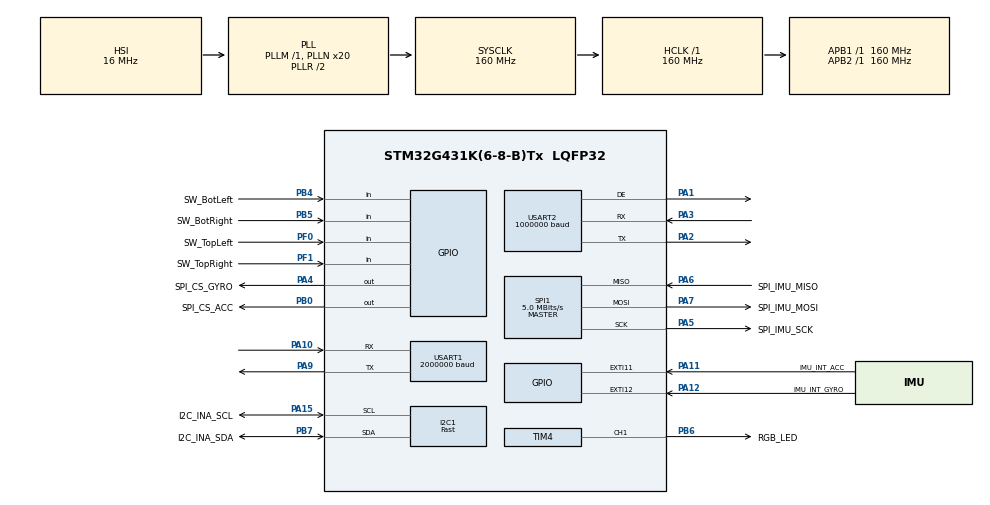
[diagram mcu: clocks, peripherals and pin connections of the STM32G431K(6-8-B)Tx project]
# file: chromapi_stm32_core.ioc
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Dma.Request0=USART2_TX
Dma.Request1=USART2_RX
Dma.Request2=TIM4_CH1
Dma.Request3=USART1_RX
Dma.Request4=USART1_TX
Dma.TIM4_CH1.2.Direction=DMA_MEMORY_TO_PERIPH
Dma.TIM4_CH1.2.EventEnable=DISABLE
Dma.TIM4_CH1.2.Instance=DMA1_Channel3
Dma.TIM4_CH1.2.MemDataAlignment=DMA_MDATAALIGN_BYTE
Dma.TIM4_CH1.2.MemInc=DMA_MINC_ENABLE
Dma.TIM4_CH1.2.Mode=DMA_CIRCULAR
Dma.TIM4_CH1.2.PeriphDataAlignment=DMA_PDATAALIGN_WORD
Dma.TIM4_CH1.2.PeriphInc=DMA_PINC_DISABLE
Dma.TIM4_CH1.2.Polarity=HAL_DMAMUX_REQ_GEN_RISING
Dma.TIM4_CH1.2.Priority=DMA_PRIORITY_HIGH
Dma.TIM4_CH1.2.RequestNumber=1
Dma.TIM4_CH1.2.SignalID=NONE
Dma.TIM4_CH1.2.SyncEnable=DISABLE
Dma.TIM4_CH1.2.SyncPolarity=HAL_DMAMUX_SYNC_NO_EVENT
Dma.TIM4_CH1.2.SyncRequestNumber=1
Dma.TIM4_CH1.2.SyncSignalID=NONE
Dma.USART1_RX.3.Direction=DMA_PERIPH_TO_MEMORY
Dma.USART1_RX.3.EventEnable=DISABLE
Dma.USART1_RX.3.Instance=DMA1_Channel4
Dma.USART1_RX.3.MemDataAlignment=DMA_MDATAALIGN_BYTE
Dma.USART1_RX.3.MemInc=DMA_MINC_ENABLE
Dma.USART1_RX.3.Mode=DMA_CIRCULAR
Dma.USART1_RX.3.PeriphDataAlignment=DMA_PDATAALIGN_BYTE
Dma.USART1_RX.3.PeriphInc=DMA_PINC_DISABLE
Dma.USART1_RX.3.Polarity=HAL_DMAMUX_REQ_GEN_RISING
Dma.USART1_RX.3.Priority=DMA_PRIORITY_HIGH
Dma.USART1_RX.3.RequestNumber=1
Dma.USART1_RX.3.SignalID=NONE
Dma.USART1_RX.3.SyncEnable=DISABLE
Dma.USART1_RX.3.SyncPolarity=HAL_DMAMUX_SYNC_NO_EVENT
Dma.USART1_RX.3.SyncRequestNumber=1
Dma.USART1_RX.3.SyncSignalID=NONE
Dma.USART1_TX.4.Direction=DMA_MEMORY_TO_PERIPH
Dma.USART1_TX.4.EventEnable=DISABLE
Dma.USART1_TX.4.Instance=DMA1_Channel5
Dma.USART1_TX.4.MemDataAlignment=DMA_MDATAALIGN_BYTE
Dma.USART1_TX.4.MemInc=DMA_MINC_ENABLE
Dma.USART1_TX.4.Mode=DMA_NORMAL
Dma.USART1_TX.4.PeriphDataAlignment=DMA_PDATAALIGN_BYTE
Dma.USART1_TX.4.PeriphInc=DMA_PINC_DISABLE
Dma.USART1_TX.4.Polarity=HAL_DMAMUX_REQ_GEN_RISING
Dma.USART1_TX.4.Priority=DMA_PRIORITY_HIGH
Dma.USART1_TX.4.RequestNumber=1
Dma.USART1_TX.4.SignalID=NONE
Dma.USART1_TX.4.SyncEnable=DISABLE
Dma.USART1_TX.4.SyncPolarity=HAL_DMAMUX_SYNC_NO_EVENT
Dma.USART1_TX.4.SyncRequestNumber=1
Dma.USART1_TX.4.SyncSignalID=NONE
Dma.USART2_RX.1.Direction=DMA_PERIPH_TO_MEMORY
Dma.USART2_RX.1.EventEnable=DISABLE
Dma.USART2_RX.1.Instance=DMA1_Channel2
Dma.USART2_RX.1.MemDataAlignment=DMA_MDATAALIGN_BYTE
Dma.USART2_RX.1.MemInc=DMA_MINC_ENABLE
Dma.USART2_RX.1.Mode=DMA_NORMAL
Dma.USART2_RX.1.PeriphDataAlignment=DMA_PDATAALIGN_BYTE
Dma.USART2_RX.1.PeriphInc=DMA_PINC_DISABLE
Dma.USART2_RX.1.Polarity=HAL_DMAMUX_REQ_GEN_RISING
Dma.USART2_RX.1.Priority=DMA_PRIORITY_VERY_HIGH
Dma.USART2_RX.1.RequestNumber=1
Dma.USART2_RX.1.SignalID=NONE
Dma.USART2_RX.1.SyncEnable=DISABLE
Dma.USART2_RX.1.SyncPolarity=HAL_DMAMUX_SYNC_NO_EVENT
Dma.USART2_RX.1.SyncRequestNumber=1
Dma.USART2_RX.1.SyncSignalID=NONE
Dma.USART2_TX.0.Direction=DMA_MEMORY_TO_PERIPH
Dma.USART2_TX.0.EventEnable=DISABLE
Dma.USART2_TX.0.Instance=DMA1_Channel1
Dma.USART2_TX.0.MemDataAlignment=DMA_MDATAALIGN_BYTE
Dma.USART2_TX.0.MemInc=DMA_MINC_ENABLE
Dma.USART2_TX.0.Mode=DMA_NORMAL
Dma.USART2_TX.0.PeriphDataAlignment=DMA_PDATAALIGN_BYTE
Dma.USART2_TX.0.PeriphInc=DMA_PINC_DISABLE
Dma.USART2_TX.0.Polarity=HAL_DMAMUX_REQ_GEN_RISING
Dma.USART2_TX.0.Priority=DMA_PRIORITY_VERY_HIGH
Dma.USART2_TX.0.RequestNumber=1
Dma.USART2_TX.0.SignalID=NONE
Dma.USART2_TX.0.SyncEnable=DISABLE
Dma.USART2_TX.0.SyncPolarity=HAL_DMAMUX_SYNC_NO_EVENT
Dma.USART2_TX.0.SyncRequestNumber=1
Dma.USART2_TX.0.SyncSignalID=NONE
I2C1.I2C_Fall_Time=10
I2C1.I2C_Speed_Mode=I2C_Fast
I2C1.Timing=0x10F02A89
Mcu.Family=STM32G4
Mcu.Name=STM32G431K(6-8-B)Tx
Mcu.Package=LQFP32
NVIC.DMA1_Channel1_IRQn=true\:5\:0\:true\:false\:true\:false\:true\:true
NVIC.DMA1_Channel2_IRQn=true\:5\:0\:true\:false\:true\:false\:true\:true
NVIC.DMA1_Channel3_IRQn=true\:5\:0\:true\:false\:true\:false\:true\:true
NVIC.DMA1_Channel4_IRQn=true\:5\:0\:true\:false\:true\:false\:true\:true
NVIC.DMA1_Channel5_IRQn=true\:5\:0\:true\:false\:true\:false\:true\:true
NVIC.PriorityGroup=NVIC_PRIORITYGROUP_4
NVIC.TIM6_DAC_IRQn=true\:6\:0\:true\:false\:true\:true\:true\:true
NVIC.USART1_IRQn=true\:1\:0\:false\:false\:true\:true\:true\:true
NVIC.USART2_IRQn=true\:0\:0\:true\:false\:true\:true\:true\:true
PA1.Mode=Hardware Flow Control (RS485)
PA1.Signal=USART2_DE
PA10.Mode=Asynchronous
PA10.Signal=USART1_RX
PA11.GPIO_Label=IMU_INT_ACC
PA11.Signal=GPXTI11
PA12.GPIO_Label=IMU_INT_GYRO
PA12.Signal=GPXTI12
PA13.Mode=Serial_Wire
PA13.Signal=SYS_JTMS-SWDIO
PA14.Mode=Serial_Wire
PA14.Signal=SYS_JTCK-SWCLK
PA15.GPIO_Label=I2C_INA_SCL
PA15.Mode=I2C
PA15.Signal=I2C1_SCL
PA2.Mode=Asynchronous
PA2.Signal=USART2_TX
PA3.GPIO_PuPd=GPIO_PULLUP
PA3.Mode=Asynchronous
PA3.Signal=USART2_RX
PA4.GPIO_Label=SPI_CS_GYRO
PA4.PinState=GPIO_PIN_SET
PA4.Signal=GPIO_Output
PA5.GPIO_Label=SPI_IMU_SCK
PA5.GPIO_Speed=GPIO_SPEED_FREQ_HIGH
PA5.Mode=Full_Duplex_Master
PA5.Signal=SPI1_SCK
PA6.GPIO_Label=SPI_IMU_MISO
PA6.GPIO_Speed=GPIO_SPEED_FREQ_HIGH
PA6.Mode=Full_Duplex_Master
PA6.Signal=SPI1_MISO
PA7.GPIO_Label=SPI_IMU_MOSI
PA7.GPIO_Speed=GPIO_SPEED_FREQ_HIGH
PA7.Mode=Full_Duplex_Master
PA7.Signal=SPI1_MOSI
PA9.Mode=Asynchronous
PA9.Signal=USART1_TX
PB0.GPIO_Label=SPI_CS_ACC
PB0.PinState=GPIO_PIN_SET
PB0.Signal=GPIO_Output
PB4.GPIO_Label=SW_BotLeft
PB4.GPIO_PuPd=GPIO_NOPULL
PB4.Signal=GPIO_Input
PB5.GPIO_Label=SW_BotRight
PB5.GPIO_PuPd=GPIO_NOPULL
PB5.Signal=GPIO_Input
PB6.GPIO_Label=RGB_LED
PB6.Signal=S_TIM4_CH1
PB7.GPIO_Label=I2C_INA_SDA
PB7.Mode=I2C
PB7.Signal=I2C1_SDA
PF0-OSC_IN.GPIO_Label=SW_TopLeft
PF0-OSC_IN.GPIO_PuPd=GPIO_NOPULL
PF0-OSC_IN.Signal=GPIO_Input
PF1-OSC_OUT.GPIO_Label=SW_TopRight
PF1-OSC_OUT.GPIO_PuPd=GPIO_NOPULL
PF1-OSC_OUT.Signal=GPIO_Input
ProjectManager.HeapSize=0x200
ProjectManager.StackSize=0x400
ProjectManager.TargetToolchain=STM32CubeIDE
RCC.ADC12Freq_Value=160000000
RCC.AHBFreq_Value=160000000
RCC.APB1Freq_Value=160000000
RCC.APB1TimFreq_Value=160000000
RCC.APB2Freq_Value=160000000
RCC.APB2TimFreq_Value=160000000
RCC.CortexFreq_Value=160000000
RCC.EXTERNAL_CLOCK_VALUE=12288000
RCC.HCLKFreq_Value=160000000
RCC.HSE_VALUE=8000000
RCC.HSI48_VALUE=48000000
RCC.HSI_VALUE=16000000
RCC.LSE_VALUE=32768
RCC.PLLN=20
RCC.SYSCLKFreq_VALUE=160000000
RCC.SYSCLKSource=RCC_SYSCLKSOURCE_PLLCLK
RCC.USBFreq_Value=160000000
RCC.VCOOutputFreq_Value=320000000
SH.S_TIM4_CH1.0=TIM4_CH1,PWM Generation1 CH1
SPI1.BaudRatePrescaler=SPI_BAUDRATEPRESCALER_32
SPI1.CalculateBaudRate=5.0 MBits/s
SPI1.DataSize=SPI_DATASIZE_8BIT
SPI1.Direction=SPI_DIRECTION_2LINES
SPI1.Mode=SPI_MODE_MASTER
SPI1.NSSPMode=SPI_NSS_PULSE_DISABLE
SPI1.VirtualType=VM_MASTER
TIM4.AutoReloadPreload=TIM_AUTORELOAD_PRELOAD_ENABLE
TIM4.Channel-PWM\ Generation1\ CH1=TIM_CHANNEL_1
TIM4.PeriodNoDither=199
TIM6.AutoReloadPreload=TIM_AUTORELOAD_PRELOAD_ENABLE
TIM6.PeriodNoDither=2500-1
TIM6.Prescaler=160-1
USART1.BaudRate=2000000
USART1.VirtualMode-Asynchronous=VM_ASYNC
USART2.BaudRate=1000000
USART2.FIFOMode=FIFOMODE_DISABLE
USART2.UART_DEAssertionTime=8
USART2.UART_DEDeassertionTime=8
USART2.VirtualMode-Asynchronous=VM_ASYNC
USART2.VirtualMode-Hardware\ Flow\ Control\ (RS485)=VM_ASYNC
VP_SYS_VS_DBSignals.Mode=DisableDeadBatterySignals
VP_TIM4_VS_ClockSourceINT.Mode=Internal
VP_TIM6_VS_ClockSourceINT.Mode=Enable_Timer
board=custom

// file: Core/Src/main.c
/* USER CODE BEGIN Header */
/**
 ******************************************************************************
 * @file           : main.c
 * @brief          : Main program body
 ******************************************************************************
 * @attention
 *
 * Copyright (c) 2026 STMicroelectronics.
 * All rights reserved.
 *
 * This software is licensed under terms that can be found in the LICENSE file
 * in the root directory of this software component.
 * If no LICENSE file comes with this software, it is provided AS-IS.
 *
 ******************************************************************************
 */
/* USER CODE END Header */
#include "main.h"

/* USER CODE BEGIN Includes */
#include <ws2812b.h>

#include "servo_bus.h"
#include "ina226.h"
#include "bmi088.h"
#include "bridge.h"
#include "mahony.h"
/* USER CODE END Includes */

/* USER CODE BEGIN PD */
#define INA226_I2C_ADDR    0x40
#define SHUNT_OHMS         0.002
#define MAX_CURRENT_A      8.0
/* USER CODE END PD */

I2C_HandleTypeDef hi2c1;

SPI_HandleTypeDef hspi1;

TIM_HandleTypeDef htim4;
TIM_HandleTypeDef htim6;
DMA_HandleTypeDef hdma_tim4_ch1;

UART_HandleTypeDef huart1;
UART_HandleTypeDef huart2;
DMA_HandleTypeDef hdma_usart1_rx;
DMA_HandleTypeDef hdma_usart1_tx;
DMA_HandleTypeDef hdma_usart2_tx;
DMA_HandleTypeDef hdma_usart2_rx;

/* USER CODE BEGIN PV */
static AutoFox_INA226 gINA226;
static BMI088 gIMU;
static MahonyFilter_t g_mahony;
static PowerReading_t g_power;
static uint32_t last_led_update = 0;

static volatile bool g_imu_task_due = false;
static volatile bool g_power_task_due = false;

#define BUS_CYCLE_DIV 2U  // bus cycle = 400 Hz / 2 = 200 Hz (~3.8 ms of bus time per 5 ms cycle)
static uint8_t g_tim6_div = 0;
static uint8_t g_tim6_power_div = 0; // INA226 refresh ODR = 10 Hz (400 Hz / 40)
static uint32_t g_imu_last_us = 0;
static bool g_imu_ok = false;

// Battery charge from V + I·R, smoothed over 10 s, as the SDK does (chromapi config.yaml, battery:).
// The thresholds are open-circuit voltages from that table: keep them in sync with it.
#define BATT_R_MOHM          245L      // [mΩ] cells + BMS + shunt + wires
#define BATT_EMA_DIV         100L      // 10 Hz readings, 10 s smoothing
#define OCV_FULL_UV          8257000L  // 100 %
#define OCV_GREEN_UV         7668000L  // 60 %
#define OCV_YELLOW_UV        7253000L  // 30 %: SDK "low"
#define OCV_ORANGE_UV        7125000L  // 20 %
#define OCV_CRITICAL_UV      6958000L  // 10 %: SDK "critical", ~10 min of trot left: status and servo LEDs blink
#define SERVO_MIN_VOLTAGE    60U       // [0.1 V] as written by 'chromapi motors setup'
#define SERVO_ALARM_VOLTAGE  90U       // [0.1 V] over any battery voltage: voltage alarm, servo LED on
static int32_t g_ocv_uV = 0;  // [µV] 0 until the first INA226 reading
static bool g_batt_critical = false;
static bool g_blink_on = false;
/* USER CODE END PV */

void SystemClock_Config(void);
static void MX_GPIO_Init(void);
static void MX_DMA_Init(void);
static void MX_USART2_UART_Init(void);
static void MX_I2C1_Init(void);
static void MX_TIM4_Init(void);
static void MX_USART1_UART_Init(void);
static void MX_SPI1_Init(void);
static void MX_TIM6_Init(void);

/* USER CODE BEGIN 0 */
void HAL_UART_TxCpltCallback(UART_HandleTypeDef *huart)
{
	if (huart->Instance == USART1) {
		Bridge_TxCpltCallback();
	}
	else if (huart->Instance == USART2) {
		ServoBus_UartTxCplt();
	}
}

void HAL_UARTEx_RxEventCallback(UART_HandleTypeDef *huart, uint16_t Size)
{
	if (huart->Instance == USART1) {
		Bridge_RxEventCallback(Size);
	}
	else if (huart->Instance == USART2) {
		ServoBus_UartRxEvent(Size);
	}
}

void HAL_UART_ErrorCallback(UART_HandleTypeDef *huart)
{
	if (huart->Instance == USART1) {
		Bridge_ErrorCallback();
	}
	else if (huart->Instance == USART2) {
		ServoBus_UartError();
	}
}

// µs clock built on the DWT cycle counter (HAL_GetTick's 1 ms is too coarse for a 2.5 ms
// IMU period). Main-loop context only: not reentrant. Must be called at least every
// 2^32 / SystemCoreClock (~26 s at 160 MHz), which the main loop does.
static uint32_t micros(void) {
	static uint32_t last_cyc = 0, us = 0, rem = 0;
	const uint32_t cyc_per_us = SystemCoreClock / 1000000U;
	uint32_t now = DWT->CYCCNT;
	rem += now - last_cyc;
	last_cyc = now;
	us  += rem / cyc_per_us;
	rem %= cyc_per_us;
	return us;
}

static void Imu_Task(void) {
	uint32_t now = micros();
	float dt = (now - g_imu_last_us) * 1e-6f;
	g_imu_last_us = now;
	if (dt <= 0.0f || dt > 0.5f) dt = 0.0025f;

	if (!BMI088_ReadAccelerometer(&gIMU) || !BMI088_ReadGyroscope(&gIMU)) return;
	Mahony_Update(&g_mahony, gIMU.gyr_rps[0], gIMU.gyr_rps[1], gIMU.gyr_rps[2],
			gIMU.acc_mps2[0], gIMU.acc_mps2[1], gIMU.acc_mps2[2], dt);
}

static void Power_Task(void) {
	g_power.bus_uV     = AutoFox_INA226_GetBusVoltage_uV(&gINA226);
	g_power.current_uA = AutoFox_INA226_GetCurrent_uA(&gINA226);
	g_power.power_uW   = AutoFox_INA226_GetPower_uW(&gINA226);
	if (g_power.bus_uV <= 0) return;

	int32_t ocv = g_power.bus_uV + (g_power.current_uA / 1000L) * BATT_R_MOHM;  // mA·mΩ = µV
	if (g_ocv_uV == 0) g_ocv_uV = ocv;
	else g_ocv_uV += (ocv - g_ocv_uV) / BATT_EMA_DIV;
}

// Called every 500 ms.
static void Battery_Led_Update(void)
{
	int32_t uV = g_ocv_uV;
	if (uV == 0) return;  // no INA226 reading yet

	uint8_t r, g, b;

	// Latched until reset: the charge does not come back while running, and the blink must not flicker.
	if (uV < OCV_CRITICAL_UV) g_batt_critical = true;

	if (g_batt_critical) {
		g_blink_on = !g_blink_on;  // 1 Hz, status LED and the 12 servo LEDs together
		r = g_blink_on ? 50 : 0;
		g = 0;
		b = 0;
		ServoBus_SetMinVoltage(g_blink_on ? SERVO_ALARM_VOLTAGE : SERVO_MIN_VOLTAGE);
	}
	else if (uV >= OCV_GREEN_UV) {
		int32_t ratio = ((uV - OCV_GREEN_UV) * 50L) / (OCV_FULL_UV - OCV_GREEN_UV);
		if (ratio > 50) ratio = 50;
		r = 0;
		g = 50;
		b = (uint8_t)ratio;
	}
	else if (uV >= OCV_YELLOW_UV) {
		int32_t ratio = ((uV - OCV_YELLOW_UV) * 50L) / (OCV_GREEN_UV - OCV_YELLOW_UV);
		r = (uint8_t)(50L - ratio);
		g = 50;
		b = 0;
	}
	else if (uV >= OCV_ORANGE_UV) {
		int32_t ratio = ((uV - OCV_ORANGE_UV) * 50L) / (OCV_YELLOW_UV - OCV_ORANGE_UV);
		r = 50;
		g = (uint8_t)(15L + ratio * 35L / 50L);
		b = 0;
	}
	else {
		int32_t ratio = ((uV - OCV_CRITICAL_UV) * 50L) / (OCV_ORANGE_UV - OCV_CRITICAL_UV);
		r = 50;
		g = (uint8_t)(ratio * 15L / 50L);
		b = 0;
	}

	led_set_RGB(LED_STATUS_START_INDEX, r, g, b);
	led_render();
}

// IWDG on LSI (~32 kHz) / 64, reload 250: ~500 ms. Covers the longest legit main-loop stall
// (SET_SERVO_ID, ~225 ms). Once started it cannot be stopped; frozen while the core is halted.
static void iwdg_start(void)
{
	DBGMCU->APB1FZR1 |= DBGMCU_APB1FZR1_DBG_IWDG_STOP;
	IWDG->KR  = 0xCCCCU;  // start
	IWDG->KR  = 0x5555U;  // unlock PR/RLR
	IWDG->PR  = IWDG_PR_PR_2;  // /64
	IWDG->RLR = 250U - 1U;
	while (IWDG->SR != 0U) {}
	IWDG->KR  = 0xAAAAU;  // refresh
}

void Chromapi_SystemInit(void) {
	CoreDebug->DEMCR |= CoreDebug_DEMCR_TRCENA_Msk;  // DWT cycle counter for micros()
	DWT->CYCCNT = 0;
	DWT->CTRL |= DWT_CTRL_CYCCNTENA_Msk;

	ServoBus_Init(&huart2);
	AutoFox_INA226_Constructor(&gINA226);
	(void)AutoFox_INA226_Init(&gINA226, INA226_I2C_ADDR, SHUNT_OHMS, MAX_CURRENT_A);
	Bridge_Init(&huart1);
	g_imu_ok = BMI088_Init(&gIMU, &hspi1,
			SPI_CS_ACC_GPIO_Port,  SPI_CS_ACC_Pin,
			SPI_CS_GYRO_GPIO_Port, SPI_CS_GYRO_Pin);

	Mahony_Init(&g_mahony);
	if (g_imu_ok) {
		Mahony_Calibrate(&g_mahony, &gIMU);
	}

	Power_Task();

	ServoBus_ScanPresent();
	HAL_Delay(500U);
}
/* USER CODE END 0 */

int main(void)
{

	/* MCU Configuration--------------------------------------------------------*/

	/* Reset of all peripherals, Initializes the Flash interface and the Systick. */
	HAL_Init();

	/* Configure the system clock */
	SystemClock_Config();

	/* Initialize all configured peripherals */
	MX_GPIO_Init();
	MX_DMA_Init();
	MX_USART2_UART_Init();
	MX_I2C1_Init();
	MX_TIM4_Init();
	MX_USART1_UART_Init();
	MX_SPI1_Init();
	MX_TIM6_Init();
	/* USER CODE BEGIN 2 */
	Chromapi_SystemInit();
	if (HAL_TIM_Base_Start_IT(&htim6) != HAL_OK) {
		Error_Handler();
	}
	iwdg_start();

	/* USER CODE END 2 */

	/* Infinite loop */
	/* USER CODE BEGIN WHILE */
	while (1)
	{
		IWDG->KR = 0xAAAAU;  // refresh

		uint32_t now_us = micros();
		uint16_t cycle_us;
		if (ServoBus_Process(now_us, &cycle_us)) {  // end of a bus cycle: stream the fresh state
			Bridge_SendStateSnapshot(now_us, cycle_us, &gIMU, &g_mahony, &g_power);
		}

		Bridge_Process();
		Bridge_CheckLink();

		if (g_imu_task_due) {
			g_imu_task_due = false;
			if (g_imu_ok) Imu_Task();
		}

		if (g_power_task_due) {
			g_power_task_due = false;
			Power_Task();
		}

		if ((HAL_GetTick() - last_led_update) >= 500U) {
			last_led_update = HAL_GetTick();
			Battery_Led_Update();
		}
		/* USER CODE END WHILE */

	}
}

void SystemClock_Config(void)
{
	RCC_OscInitTypeDef RCC_OscInitStruct = {0};
	RCC_ClkInitTypeDef RCC_ClkInitStruct = {0};

	/** Configure the main internal regulator output voltage
	 */
	HAL_PWREx_ControlVoltageScaling(PWR_REGULATOR_VOLTAGE_SCALE1_BOOST);

	/** Initializes the RCC Oscillators according to the specified parameters
	 * in the RCC_OscInitTypeDef structure.
	 */
	RCC_OscInitStruct.OscillatorType = RCC_OSCILLATORTYPE_HSI;
	RCC_OscInitStruct.HSIState = RCC_HSI_ON;
	RCC_OscInitStruct.HSICalibrationValue = RCC_HSICALIBRATION_DEFAULT;
	RCC_OscInitStruct.PLL.PLLState = RCC_PLL_ON;
	RCC_OscInitStruct.PLL.PLLSource = RCC_PLLSOURCE_HSI;
	RCC_OscInitStruct.PLL.PLLM = RCC_PLLM_DIV1;
	RCC_OscInitStruct.PLL.PLLN = 20;
	RCC_OscInitStruct.PLL.PLLP = RCC_PLLP_DIV2;
	RCC_OscInitStruct.PLL.PLLQ = RCC_PLLQ_DIV2;
	RCC_OscInitStruct.PLL.PLLR = RCC_PLLR_DIV2;
	if (HAL_RCC_OscConfig(&RCC_OscInitStruct) != HAL_OK)
	{
		Error_Handler();
	}

	/** Initializes the CPU, AHB and APB buses clocks
	 */
	RCC_ClkInitStruct.ClockType = RCC_CLOCKTYPE_HCLK|RCC_CLOCKTYPE_SYSCLK
			|RCC_CLOCKTYPE_PCLK1|RCC_CLOCKTYPE_PCLK2;
	RCC_ClkInitStruct.SYSCLKSource = RCC_SYSCLKSOURCE_PLLCLK;
	RCC_ClkInitStruct.AHBCLKDivider = RCC_SYSCLK_DIV1;
	RCC_ClkInitStruct.APB1CLKDivider = RCC_HCLK_DIV1;
	RCC_ClkInitStruct.APB2CLKDivider = RCC_HCLK_DIV1;

	if (HAL_RCC_ClockConfig(&RCC_ClkInitStruct, FLASH_LATENCY_4) != HAL_OK)
	{
		Error_Handler();
	}
}

static void MX_I2C1_Init(void)
{

	hi2c1.Instance = I2C1;
	hi2c1.Init.Timing = 0x10F02A89;
	hi2c1.Init.OwnAddress1 = 0;
	hi2c1.Init.AddressingMode = I2C_ADDRESSINGMODE_7BIT;
	hi2c1.Init.DualAddressMode = I2C_DUALADDRESS_DISABLE;
	hi2c1.Init.OwnAddress2 = 0;
	hi2c1.Init.OwnAddress2Masks = I2C_OA2_NOMASK;
	hi2c1.Init.GeneralCallMode = I2C_GENERALCALL_DISABLE;
	hi2c1.Init.NoStretchMode = I2C_NOSTRETCH_DISABLE;
	if (HAL_I2C_Init(&hi2c1) != HAL_OK)
	{
		Error_Handler();
	}

	/** Configure Analogue filter
	 */
	if (HAL_I2CEx_ConfigAnalogFilter(&hi2c1, I2C_ANALOGFILTER_ENABLE) != HAL_OK)
	{
		Error_Handler();
	}

	/** Configure Digital filter
	 */
	if (HAL_I2CEx_ConfigDigitalFilter(&hi2c1, 0) != HAL_OK)
	{
		Error_Handler();
	}

}

static void MX_SPI1_Init(void)
{

	/* SPI1 parameter configuration*/
	hspi1.Instance = SPI1;
	hspi1.Init.Mode = SPI_MODE_MASTER;
	hspi1.Init.Direction = SPI_DIRECTION_2LINES;
	hspi1.Init.DataSize = SPI_DATASIZE_8BIT;
	hspi1.Init.CLKPolarity = SPI_POLARITY_LOW;
	hspi1.Init.CLKPhase = SPI_PHASE_1EDGE;
	hspi1.Init.NSS = SPI_NSS_SOFT;
	hspi1.Init.BaudRatePrescaler = SPI_BAUDRATEPRESCALER_32;
	hspi1.Init.FirstBit = SPI_FIRSTBIT_MSB;
	hspi1.Init.TIMode = SPI_TIMODE_DISABLE;
	hspi1.Init.CRCCalculation = SPI_CRCCALCULATION_DISABLE;
	hspi1.Init.CRCPolynomial = 7;
	hspi1.Init.CRCLength = SPI_CRC_LENGTH_DATASIZE;
	hspi1.Init.NSSPMode = SPI_NSS_PULSE_DISABLE;
	if (HAL_SPI_Init(&hspi1) != HAL_OK)
	{
		Error_Handler();
	}

}

static void MX_TIM4_Init(void)
{

	TIM_ClockConfigTypeDef sClockSourceConfig = {0};
	TIM_MasterConfigTypeDef sMasterConfig = {0};
	TIM_OC_InitTypeDef sConfigOC = {0};

	htim4.Instance = TIM4;
	htim4.Init.Prescaler = 0;
	htim4.Init.CounterMode = TIM_COUNTERMODE_UP;
	htim4.Init.Period = 199;
	htim4.Init.ClockDivision = TIM_CLOCKDIVISION_DIV1;
	htim4.Init.AutoReloadPreload = TIM_AUTORELOAD_PRELOAD_ENABLE;
	if (HAL_TIM_Base_Init(&htim4) != HAL_OK)
	{
		Error_Handler();
	}
	sClockSourceConfig.ClockSource = TIM_CLOCKSOURCE_INTERNAL;
	if (HAL_TIM_ConfigClockSource(&htim4, &sClockSourceConfig) != HAL_OK)
	{
		Error_Handler();
	}
	if (HAL_TIM_PWM_Init(&htim4) != HAL_OK)
	{
		Error_Handler();
	}
	sMasterConfig.MasterOutputTrigger = TIM_TRGO_RESET;
	sMasterConfig.MasterSlaveMode = TIM_MASTERSLAVEMODE_DISABLE;
	if (HAL_TIMEx_MasterConfigSynchronization(&htim4, &sMasterConfig) != HAL_OK)
	{
		Error_Handler();
	}
	sConfigOC.OCMode = TIM_OCMODE_PWM1;
	sConfigOC.Pulse = 0;
	sConfigOC.OCPolarity = TIM_OCPOLARITY_HIGH;
	sConfigOC.OCFastMode = TIM_OCFAST_DISABLE;
	if (HAL_TIM_PWM_ConfigChannel(&htim4, &sConfigOC, TIM_CHANNEL_1) != HAL_OK)
	{
		Error_Handler();
	}
	HAL_TIM_MspPostInit(&htim4);

}

static void MX_TIM6_Init(void)
{

	TIM_MasterConfigTypeDef sMasterConfig = {0};

	htim6.Instance = TIM6;
	htim6.Init.Prescaler = 160-1;
	htim6.Init.CounterMode = TIM_COUNTERMODE_UP;
	htim6.Init.Period = 2499;
	htim6.Init.AutoReloadPreload = TIM_AUTORELOAD_PRELOAD_ENABLE;
	if (HAL_TIM_Base_Init(&htim6) != HAL_OK)
	{
		Error_Handler();
	}
	sMasterConfig.MasterOutputTrigger = TIM_TRGO_RESET;
	sMasterConfig.MasterSlaveMode = TIM_MASTERSLAVEMODE_DISABLE;
	if (HAL_TIMEx_MasterConfigSynchronization(&htim6, &sMasterConfig) != HAL_OK)
	{
		Error_Handler();
	}

}

static void MX_USART1_UART_Init(void)
{

	huart1.Instance = USART1;
	huart1.Init.BaudRate = 2000000;
	huart1.Init.WordLength = UART_WORDLENGTH_8B;
	huart1.Init.StopBits = UART_STOPBITS_1;
	huart1.Init.Parity = UART_PARITY_NONE;
	huart1.Init.Mode = UART_MODE_TX_RX;
	huart1.Init.HwFlowCtl = UART_HWCONTROL_NONE;
	huart1.Init.OverSampling = UART_OVERSAMPLING_16;
	huart1.Init.OneBitSampling = UART_ONE_BIT_SAMPLE_DISABLE;
	huart1.Init.ClockPrescaler = UART_PRESCALER_DIV1;
	huart1.AdvancedInit.AdvFeatureInit = UART_ADVFEATURE_NO_INIT;
	if (HAL_UART_Init(&huart1) != HAL_OK)
	{
		Error_Handler();
	}
	if (HAL_UARTEx_SetTxFifoThreshold(&huart1, UART_TXFIFO_THRESHOLD_1_8) != HAL_OK)
	{
		Error_Handler();
	}
	if (HAL_UARTEx_SetRxFifoThreshold(&huart1, UART_RXFIFO_THRESHOLD_1_8) != HAL_OK)
	{
		Error_Handler();
	}
	if (HAL_UARTEx_DisableFifoMode(&huart1) != HAL_OK)
	{
		Error_Handler();
	}

}

static void MX_USART2_UART_Init(void)
{

	huart2.Instance = USART2;
	huart2.Init.BaudRate = 1000000;
	huart2.Init.WordLength = UART_WORDLENGTH_8B;
	huart2.Init.StopBits = UART_STOPBITS_1;
	huart2.Init.Parity = UART_PARITY_NONE;
	huart2.Init.Mode = UART_MODE_TX_RX;
	huart2.Init.HwFlowCtl = UART_HWCONTROL_NONE;
	huart2.Init.OverSampling = UART_OVERSAMPLING_16;
	huart2.Init.OneBitSampling = UART_ONE_BIT_SAMPLE_DISABLE;
	huart2.Init.ClockPrescaler = UART_PRESCALER_DIV1;
	huart2.AdvancedInit.AdvFeatureInit = UART_ADVFEATURE_NO_INIT;
	if (HAL_RS485Ex_Init(&huart2, UART_DE_POLARITY_HIGH, 8, 8) != HAL_OK)
	{
		Error_Handler();
	}
	if (HAL_UARTEx_SetTxFifoThreshold(&huart2, UART_TXFIFO_THRESHOLD_1_8) != HAL_OK)
	{
		Error_Handler();
	}
	if (HAL_UARTEx_SetRxFifoThreshold(&huart2, UART_RXFIFO_THRESHOLD_1_8) != HAL_OK)
	{
		Error_Handler();
	}
	if (HAL_UARTEx_DisableFifoMode(&huart2) != HAL_OK)
	{
		Error_Handler();
	}

}

static void MX_DMA_Init(void)
{

	/* DMA controller clock enable */
	__HAL_RCC_DMAMUX1_CLK_ENABLE();
	__HAL_RCC_DMA1_CLK_ENABLE();

	/* DMA interrupt init */
	/* DMA1_Channel1_IRQn interrupt configuration */
	HAL_NVIC_SetPriority(DMA1_Channel1_IRQn, 5, 0);
	HAL_NVIC_EnableIRQ(DMA1_Channel1_IRQn);
	/* DMA1_Channel2_IRQn interrupt configuration */
	HAL_NVIC_SetPriority(DMA1_Channel2_IRQn, 5, 0);
	HAL_NVIC_EnableIRQ(DMA1_Channel2_IRQn);
	/* DMA1_Channel3_IRQn interrupt configuration */
	HAL_NVIC_SetPriority(DMA1_Channel3_IRQn, 5, 0);
	HAL_NVIC_EnableIRQ(DMA1_Channel3_IRQn);
	/* DMA1_Channel4_IRQn interrupt configuration */
	HAL_NVIC_SetPriority(DMA1_Channel4_IRQn, 5, 0);
	HAL_NVIC_EnableIRQ(DMA1_Channel4_IRQn);
	/* DMA1_Channel5_IRQn interrupt configuration */
	HAL_NVIC_SetPriority(DMA1_Channel5_IRQn, 5, 0);
	HAL_NVIC_EnableIRQ(DMA1_Channel5_IRQn);

}

static void MX_GPIO_Init(void)
{
	GPIO_InitTypeDef GPIO_InitStruct = {0};

	/* GPIO Ports Clock Enable */
	__HAL_RCC_GPIOF_CLK_ENABLE();
	__HAL_RCC_GPIOA_CLK_ENABLE();
	__HAL_RCC_GPIOB_CLK_ENABLE();

	/*Configure GPIO pin Output Level */
	HAL_GPIO_WritePin(SPI_CS_GYRO_GPIO_Port, SPI_CS_GYRO_Pin, GPIO_PIN_SET);

	/*Configure GPIO pin Output Level */
	HAL_GPIO_WritePin(SPI_CS_ACC_GPIO_Port, SPI_CS_ACC_Pin, GPIO_PIN_SET);

	/*Configure GPIO pins : SW_TopLeft_Pin SW_TopRight_Pin */
	GPIO_InitStruct.Pin = SW_TopLeft_Pin|SW_TopRight_Pin;
	GPIO_InitStruct.Mode = GPIO_MODE_INPUT;
	GPIO_InitStruct.Pull = GPIO_NOPULL;
	HAL_GPIO_Init(GPIOF, &GPIO_InitStruct);

	/*Configure GPIO pin : SPI_CS_GYRO_Pin */
	GPIO_InitStruct.Pin = SPI_CS_GYRO_Pin;
	GPIO_InitStruct.Mode = GPIO_MODE_OUTPUT_PP;
	GPIO_InitStruct.Pull = GPIO_NOPULL;
	GPIO_InitStruct.Speed = GPIO_SPEED_FREQ_LOW;
	HAL_GPIO_Init(SPI_CS_GYRO_GPIO_Port, &GPIO_InitStruct);

	/*Configure GPIO pin : SPI_CS_ACC_Pin */
	GPIO_InitStruct.Pin = SPI_CS_ACC_Pin;
	GPIO_InitStruct.Mode = GPIO_MODE_OUTPUT_PP;
	GPIO_InitStruct.Pull = GPIO_NOPULL;
	GPIO_InitStruct.Speed = GPIO_SPEED_FREQ_LOW;
	HAL_GPIO_Init(SPI_CS_ACC_GPIO_Port, &GPIO_InitStruct);

	/*Configure GPIO pins : IMU_INT_ACC_Pin IMU_INT_GYRO_Pin */
	GPIO_InitStruct.Pin = IMU_INT_ACC_Pin|IMU_INT_GYRO_Pin;
	GPIO_InitStruct.Mode = GPIO_MODE_IT_RISING;
	GPIO_InitStruct.Pull = GPIO_NOPULL;
	HAL_GPIO_Init(GPIOA, &GPIO_InitStruct);

	/*Configure GPIO pins : SW_BotLeft_Pin SW_BotRight_Pin */
	GPIO_InitStruct.Pin = SW_BotLeft_Pin|SW_BotRight_Pin;
	GPIO_InitStruct.Mode = GPIO_MODE_INPUT;
	GPIO_InitStruct.Pull = GPIO_NOPULL;
	HAL_GPIO_Init(GPIOB, &GPIO_InitStruct);

}

/* USER CODE BEGIN 4 */
void HAL_TIM_PeriodElapsedCallback(TIM_HandleTypeDef *htim) {
	if (htim->Instance == TIM6) {
		g_imu_task_due = true;

		if (++g_tim6_div >= BUS_CYCLE_DIV) {
			g_tim6_div = 0;
			ServoBus_TickCycle();
		}
		if (++g_tim6_power_div >= 40) {  // 400 Hz / 40
			g_tim6_power_div = 0;
			g_power_task_due = true;
		}
	}
}
/* USER CODE END 4 */

void Error_Handler(void)
{
	__disable_irq();
	while (1)
	{
	}
}
